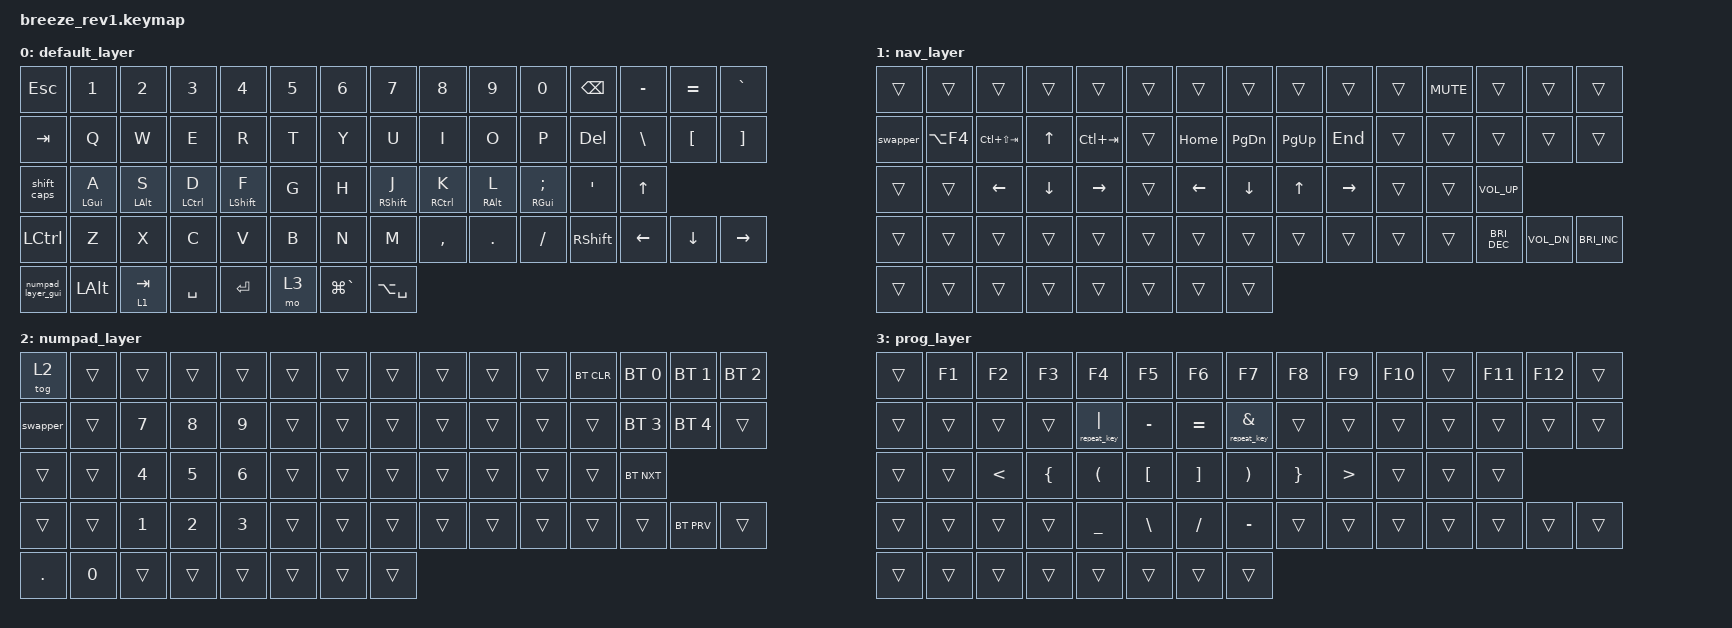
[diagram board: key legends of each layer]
/*
 * Copyright (c) 2022 The ZMK Contributors
 *
 * SPDX-License-Identifier: MIT
 */

#include <behaviors.dtsi>
#include <dt-bindings/zmk/bt.h>
#include <dt-bindings/zmk/keys.h>

&sk {
    release-after-ms = <3000>;
    quick-release;
};

/ {
    macros {
        repeat_key: repeat_key {
            compatible = "zmk,behavior-macro-one-param";
            #binding-cells = <1>;
            bindings = <&macro_param_1to1 &kp MACRO_PLACEHOLDER &macro_param_1to1 &kp MACRO_PLACEHOLDER>;
        };

        arrow: arrow {
            compatible = "zmk,behavior-macro";
            #binding-cells = <0>;
            bindings = <&macro_tap>, <&kp EQUAL &kp GREATER_THAN>;
        };
    };

    behaviors {
        hml: home_row_mod_left {
            compatible = "zmk,behavior-hold-tap";
            bindings = <&kp>, <&kp>;

            #binding-cells = <2>;
            hold-trigger-on-release;
            tapping-term-ms = <280>;
            quick-tap-ms = <175>;
            require-prior-idle-ms = <125>;
            flavor = "balanced";
            hold-trigger-key-positions = <6 7 8 9 10 11 12 13 14 21 22 23 24 25 26 27 28 29 36 37 38 39 40 41 42 49 50 51 52 53 54 55 56 57 62 63 64 65>;
        };

        hmr: home_row_mod_right {
            compatible = "zmk,behavior-hold-tap";
            bindings = <&kp>, <&kp>;

            #binding-cells = <2>;
            hold-trigger-on-release;
            tapping-term-ms = <280>;
            quick-tap-ms = <175>;
            require-prior-idle-ms = <125>;
            flavor = "balanced";
            hold-trigger-key-positions = <0 1 2 3 4 5 15 16 17 18 19 20 30 31 32 33 34 35 43 44 45 46 47 48 58 59 60 61>;
        };

        shift_caps: shift_caps {
            compatible = "zmk,behavior-tap-dance";
            #binding-cells = <0>;
            bindings = <&sk LEFT_SHIFT>, <&caps_word>, <&kp CAPSLOCK>;
        };

        numpad_layer_gui: numpad_layer_gui {
            compatible = "zmk,behavior-tap-dance";
            #binding-cells = <0>;
            bindings = <&kp LEFT_GUI>, <&tog 2>;
        };

        // Swapper for smart alt+tab

        swapper: swapper {
            compatible = "zmk,behavior-smart-toggle";
            #binding-cells = <0>;
            bindings = <&kp LALT>, <&kp TAB>;

            ignored-key-positions = <31 32 33 34>;
        };

        ht_sw: ht_sw {
            compatible = "zmk,behavior-hold-tap";
            #binding-cells = <2>;
            tapping-term-ms = <150>;
            flavor = "hold-preferred";
            bindings = <&kp>, <&swapper>;
        };

        ht_layer: ht_layer {
            compatible = "zmk,behavior-hold-tap";
            #binding-cells = <2>;
            tapping-term-ms = <150>;
            flavor = "hold-preferred";
            bindings = <&mo>, <&sl>;
        };
    };

    keymap {
        compatible = "zmk,keymap";

        default_layer {
            // Ref: https://zmkfirmware.dev/docs/codes/
            // ---  MAIN  -----------------------------------------------------------------------------------------------------------------------
            // |    ESC    |     1     |     2     |     3      |      4      |      5     |                           |      6      |      7     |      8      |      9     |     0    |    BSPC    | |    -/_    |     =/+     |    GRAVE    |
            // |    TAB    |     Q     |     W     |     E      |      R      |      T     |                           |      Y      |      U     |      I      |      O     |     P    |    DEL     | |     \     |      [      |      ]      |
            // |   LCTRL   |     A     |     S     |     D      |      F      |      G     |                           |      H      |      J     |      K      |      L     |     ;    |     '      | |           |      UP     |             |
            // |   SHIFT   |     Z     |     X     |     C      |      V      |      B     |                           |      N      |      M     |      ,      |      .     |     /    |   RSHIFT   | |     L     |      DN     |      R      |
            //                                     |   NUMPAD   |     LALT    |    LCMD    |   SPACE    |  |   ENTER   |   FUNCTION  |  MACOS APP |  MACOS LANG |

            bindings = <
&kp ESC            &kp N1           &kp N2           &kp N3        &kp N4             &kp N5  &kp N6         &kp N7              &kp N8        &kp N9            &kp N0               &kp BSPC    &kp MINUS  &kp EQUAL  &kp GRAVE
&kp TAB            &kp Q            &kp W            &kp E         &kp R              &kp T   &kp Y          &kp U               &kp I         &kp O             &kp P                &kp DEL     &kp BSLH   &kp LBKT   &kp RBKT
&shift_caps        &hml LEFT_GUI A  &hml LEFT_ALT S  &hml LCTRL D  &hml LEFT_SHIFT F  &kp G   &kp H          &hmr RIGHT_SHIFT J  &hmr RCTRL K  &hmr RIGHT_ALT L  &hmr RIGHT_GUI SEMI  &kp APOS    &kp UP
&kp LCTRL          &kp Z            &kp X            &kp C         &kp V              &kp B   &kp N          &kp M               &kp COMMA     &kp DOT           &kp FSLH             &kp RSHIFT  &kp LEFT   &kp DOWN   &kp RIGHT
&numpad_layer_gui  &kp LALT         &lt 1 TAB        &kp SPACE     &kp RET            &mo 3   &kp LG(GRAVE)  &kp LA(SPACE)
            >;
        };

        nav_layer {
            // ---  FUNCTION  -------------------------------------------------------------------------------------------------------------------
            // | BT Clear  |  BT Prev  |  BT Next  |            |             |            |                           |             |            |             |            |          |            | |           |             |             |
            // |           |           |           |            |             |            |                           |             |            |     UP      |            |          |            | |           |             |             |
            // |           |           |           |            |             |            |                           |             |    LEFT    |    DOWN     |   RIGHT    |          |            | |           |             |             |
            // |           |           |           |            |             |            |                           |             |    MUTE    |  VOL DOWN   |   VOL UP   |          |            | |           |             |             |
            //                                     |            |             |            |            |  |           |             |            |             |

            bindings = <
&trans    &trans      &trans           &trans    &trans       &trans  &trans          &trans          &trans        &trans     &trans  &kp K_MUTE  &trans                &trans        &trans
&swapper  &kp LA(F4)  &kp LC(LS(TAB))  &kp UP    &kp LC(TAB)  &trans  &kp HOME        &kp PAGE_DOWN   &kp PAGE_UP   &kp END    &trans  &trans      &trans                &trans        &trans
&trans    &trans      &kp LEFT         &kp DOWN  &kp RIGHT    &trans  &kp LEFT_ARROW  &kp DOWN_ARROW  &kp UP_ARROW  &kp RIGHT  &trans  &trans      &kp C_VOLUME_UP
&trans    &trans      &trans           &trans    &trans       &trans  &trans          &trans          &trans        &trans     &trans  &trans      &kp C_BRIGHTNESS_DEC  &kp C_VOL_DN  &kp C_BRIGHTNESS_INC
&trans    &trans      &trans           &trans    &trans       &trans  &trans          &trans
            >;
        };

        numpad_layer {
            // ---  NUMPAD  -------------------------------------------------------------------------------------------------------------------
            // |           |           |           |            |             |            |                           |       =       |      /       |      *       |      -     |          |            | |           |             |             |
            // |           |           |           |            |             |            |                           |       7       |      8       |      9       |      +     |          |            | |           |             |             |
            // |           |           |           |            |             |            |                           |       4       |      5       |      6       |            |          |            | |           |             |             |
            // |           |           |           |            |             |            |                           |       1       |      2       |      3       |            |          |            | |           |             |             |
            //                                     |            |             |            |            |  |           |       0       |      .       |              |

            bindings = <
&tog 2      &trans  &trans        &trans        &trans        &trans  &trans  &trans  &trans  &trans  &trans  &bt BT_CLR  &bt BT_SEL 0  &bt BT_SEL 1  &bt BT_SEL 2
&swapper    &trans  &kp N7        &kp N8        &kp N9        &trans  &trans  &trans  &trans  &trans  &trans  &trans      &bt BT_SEL 3  &bt BT_SEL 4  &trans
&trans      &trans  &kp NUMBER_4  &kp NUMBER_5  &kp NUMBER_6  &trans  &trans  &trans  &trans  &trans  &trans  &trans      &bt BT_NXT
&trans      &trans  &kp NUMBER_1  &kp NUMBER_2  &kp NUMBER_3  &trans  &trans  &trans  &trans  &trans  &trans  &trans      &trans        &bt BT_PRV    &trans
&kp PERIOD  &kp N0  &trans        &trans        &trans        &trans  &trans  &trans
            >;
        };

        prog_layer {
            bindings = <
&trans  &kp F1  &kp F2         &kp F3          &kp F4                &kp F5            &kp F6             &kp F7                 &kp F8           &kp F9            &kp F10  &trans  &kp F11  &kp F12  &trans
&trans  &trans  &trans         &trans          &repeat_key PIPE      &kp MINUS         &kp EQUAL          &repeat_key AMPS       &trans           &trans            &trans   &trans  &trans   &trans   &trans
&trans  &trans  &kp LESS_THAN  &kp LEFT_BRACE  &kp LEFT_PARENTHESIS  &kp LEFT_BRACKET  &kp RIGHT_BRACKET  &kp RIGHT_PARENTHESIS  &kp RIGHT_BRACE  &kp GREATER_THAN  &trans   &trans  &trans
&trans  &trans  &trans         &trans          &kp UNDER             &kp BSLH          &kp FSLH           &kp MINUS              &trans           &trans            &trans   &trans  &trans   &trans   &trans
&trans  &trans  &trans         &trans          &trans                &trans            &trans             &trans
            >;
        };
    };
};
